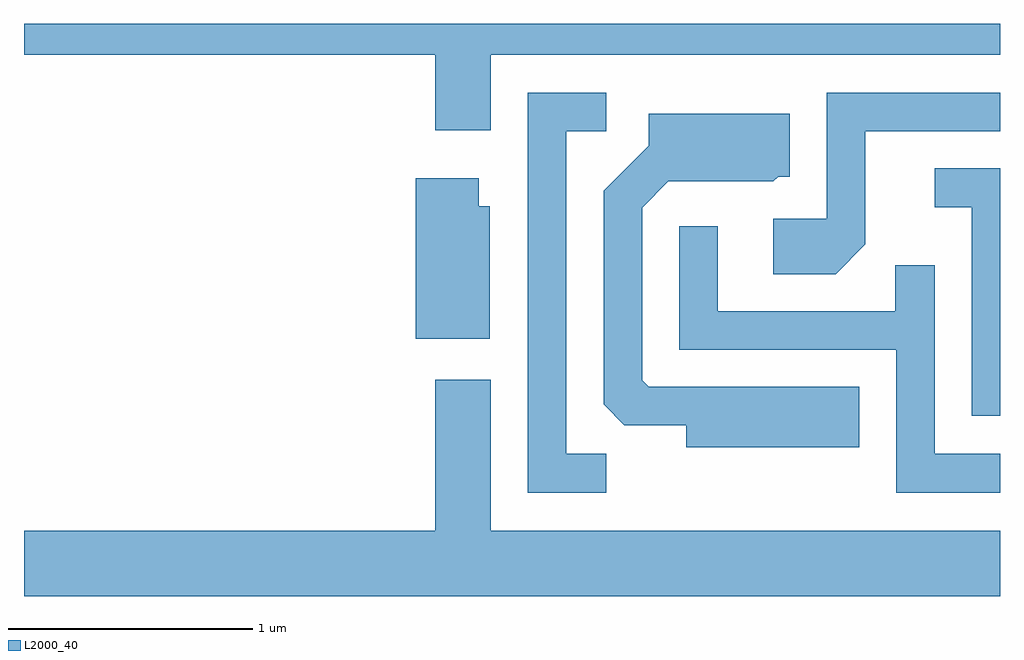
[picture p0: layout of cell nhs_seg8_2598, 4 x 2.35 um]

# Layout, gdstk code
import gdstk
lib = gdstk.Library(unit=1e-6, precision=1e-09)
def P(c, l, *ps):  # polygons
    for p in ps: c.add(gdstk.Polygon(p, *l))
L2000_40 = (2000, 40)

nhs_seg8_2598 = lib.new_cell('nhs_seg8_2598')
P(nhs_seg8_2598, L2000_40, [(265.524,1814.216),(267.611,1814.216),(267.611,1814.342),(263.611,1814.342),(263.611,1814.216),(265.296,1814.216),(265.296,1813.906),(265.524,1813.906)],
  [(265.998,1812.579),(265.834,1812.579),(265.834,1813.901),(265.998,1813.901),(265.998,1814.059),(265.676,1814.059),(265.676,1812.421),(265.998,1812.421)],
  [(267.059,1813.439),(267.059,1813.901),(267.611,1813.901),(267.611,1814.059),(266.901,1814.059),(266.901,1813.544),(266.681,1813.544),(266.681,1813.316),(266.937,1813.316)],
  [(267.034,1812.854),(266.172,1812.854),(266.144,1812.882),(266.144,1813.589),(266.252,1813.696),(266.682,1813.696),(266.702,1813.716),(266.749,1813.716),(266.749,1813.974),(266.171,1813.974),(266.171,1813.842),(265.986,1813.657),(265.986,1812.782),(266.072,1812.696),(266.326,1812.696),(266.326,1812.606),(267.034,1812.606)],
  [(267.611,1813.749),(267.343,1813.749),(267.343,1813.591),(267.496,1813.591),(267.496,1812.736),(267.611,1812.736)],
  [(265.519,1813.594),(265.474,1813.594),(265.474,1813.709),(265.216,1813.709),(265.216,1813.051),(265.519,1813.051)],
  [(267.611,1812.579),(267.344,1812.579),(267.344,1813.353),(267.181,1813.353),(267.181,1813.164),(266.454,1813.164),(266.454,1813.513),(266.296,1813.513),(266.296,1813.006),(267.186,1813.006),(267.186,1812.421),(267.611,1812.421)],
  [(267.611,1812.264),(265.524,1812.264),(265.524,1812.884),(265.296,1812.884),(265.296,1812.264),(263.611,1812.264),(263.611,1811.996),(267.611,1811.996)])

lib.write_gds('nhs_seg8_2598.gds')
